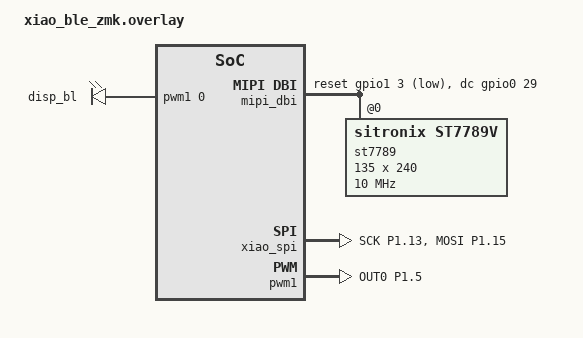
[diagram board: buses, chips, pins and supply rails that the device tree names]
/ {
   chosen {
      zephyr,display = &st7789;
   };

   pwmleds {
      compatible = "pwm-leds";
      disp_bl: pwm_led_1 {
          pwms = <&pwm1 0 PWM_MSEC(1) PWM_POLARITY_NORMAL>;
      };
   };

   aliases {
      backlight = &disp_bl;
   };
};

&pinctrl {
   xiao_spi_default: xiao_spi_default {
      group1 {
         psels = <NRF_PSEL(SPIM_SCK, 1, 13)>,
                 <NRF_PSEL(SPIM_MOSI, 1, 15)>;
      };
   };

   xiao_spi_sleep: xiao_spi_sleep {
      group1 {
         psels = <NRF_PSEL(SPIM_SCK, 1, 13)>,
                 <NRF_PSEL(SPIM_MOSI, 1, 15)>;
         low-power-enable;
      };
   };

   pwm1_default: pwm1_default {
      group1 {
         psels = <NRF_PSEL(PWM_OUT0, 1, 5)>;
         nordic,invert;
      };
   };

   pwm1_sleep: pwm1_sleep {
      group1 {
         psels = <NRF_PSEL(PWM_OUT0, 1, 5)>;
         low-power-enable;
      };
   };
};

&xiao_spi {
   status = "okay";
   pinctrl-0 = <&xiao_spi_default>;
   pinctrl-1 = <&xiao_spi_sleep>;
   pinctrl-names = "default", "sleep";
   cs-gpios = <&xiao_d 2 GPIO_ACTIVE_LOW>;
};

/ {
   mipi_dbi {
       compatible = "zephyr,mipi-dbi-spi";
       spi-dev = <&xiao_spi>;
       dc-gpios = <&gpio0 29 GPIO_ACTIVE_HIGH>;
       reset-gpios = <&gpio1 3 GPIO_ACTIVE_LOW>;
       write-only;
       #address-cells = <1>;
       #size-cells = <0>;

       st7789: st7789v@0 {
           compatible = "sitronix,st7789v";
           mipi-max-frequency = <10000000>;
           mipi-mode = "MIPI_DBI_MODE_SPI_4WIRE";
           reg = <0>;
           width = <135>;
           height = <240>;
           x-offset = <52>;
           y-offset = <40>;
           vcom = <0x19>;
           gctrl = <0x35>;
           vrhs = <0x12>;
           vdvs = <0x20>;
           mdac = <0x20>;
           gamma = <0x01>;
           colmod = <0x05>;
           lcm = <0x2c>;
           porch-param = [ 0c 0c 00 33 33  ];
           cmd2en-param = [ 5a 69 02 01  ];
           pwctrl1-param = [ a4 a1  ];
           pvgam-param = [ D0 04 0D 11 13 2B 3F 54 4C 18 0D 0B 1F 23  ];
           nvgam-param = [ D0 04 0C 11 13 2C 3F 44 51 2F 1F 1F 20 23  ];
           ram-param = [ 00 F0  ];
           rgb-param = [ CD 08 14  ];
       };
   };
};

/* 環境光センサーは未搭載のため無効化 */
&i2c1 {
   status = "disabled";
};

&pwm1 {
   status = "okay";
   pinctrl-0 = <&pwm1_default>;
   pinctrl-1 = <&pwm1_sleep>;
   pinctrl-names = "default", "sleep";
 };

&uicr {
   nfct-pins-as-gpios;
};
